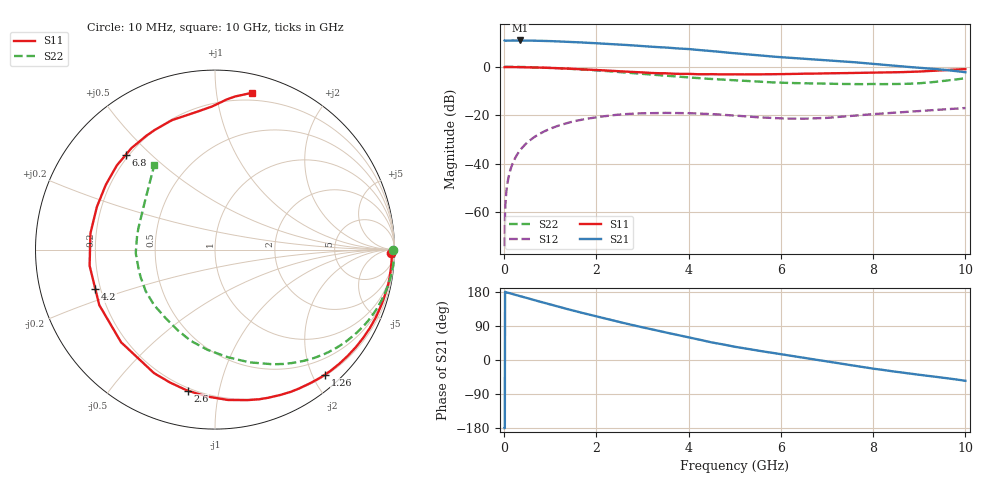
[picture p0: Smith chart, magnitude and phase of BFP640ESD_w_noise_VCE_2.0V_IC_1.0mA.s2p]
! Infineon Technologies  Discrete & RF Semiconductors
! BFP640ESD
! VCE =  2.0 V,  IC =  1.0 mA
! Common Emitter S-Parameters:  Jan 2016
# GHz  S  MA  R  50
!  f  S11  S21  S12  S22
! GHz  MAG  ANG  MAG  ANG  MAG  ANG  MAG  ANG
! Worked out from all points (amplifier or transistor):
!   233 points, 10 MHz to 10 GHz, reference 50 ohm
!   highest |S21| = 10.9 dB at 340 MHz (marker M1)
!   |S21| within 3 dB of that: start of sweep to 3.558 GHz
!   unconditionally stable (mu >= 1): 5.472 GHz to 9.362 GHz
!   at 200 MHz: K = 0.01, MSG = 25.0 dB, |S12| = -39.2 dB
!   at 1.74 GHz: K = 0.17, MSG = 15.8 dB, |S12| = -21.6 dB
!   at 10 GHz: K = 0.67, MSG = 7.4 dB, |S12| = -17.0 dB
!   lowest NFmin = 0.63 dB at 450 MHz
!   S11 on the Smith chart (normalised r, x): 10 MHz: 52, -58; 1.26 GHz: 0.22, -2.19; 2.6 GHz: 0.18, -0.81; 4.2 GHz: 0.18, -0.16; 6.8 GHz: 0.19, +0.42; 10 GHz: 0.14, +1.25
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0.01  0.9829 -1.1  3.483 -179.9  0.0002 -151.8  0.9942 0.0
0.02  0.9864 -1.0  3.441 180.0  0.001 89.7  1 -0.3
0.025  0.9864 -1.2  3.443 179.7  0.0013 89.6  0.9998 -0.5
0.045  0.9865 -1.8  3.45 178.5  0.0025 89.4  0.999 -1.1
0.07  0.986 -2.8  3.46 177.7  0.0039 87.8  0.9986 -1.7
0.17  0.9853 -6.5  3.484 174.6  0.0094 85.5  0.9974 -3.9
0.34  0.9819 -13.0  3.49 168.8  0.0187 81.2  0.9926 -7.9
0.7  0.967 -27.0  3.456 156.6  0.0379 71.7  0.9733 -16.0
1.26  0.9274 -48.7  3.313 138.1  0.0648 57.2  0.9254 -28.4
1.68  0.8896 -65.0  3.174 124.7  0.0811 46.8  0.8798 -37.2
2.2  0.8412 -85.0  2.986 109.2  0.0966 35.2  0.8186 -47.5
2.6  0.8011 -100.9  2.841 97.4  0.1052 26.4  0.7662 -55.5
3.4  0.7348 -131.5  2.522 75.5  0.1113 11.4  0.6669 -70.9
4  0.715 -154.4  2.32 59.5  0.1106 2.4  0.6051 -82.9
4.2  0.7021 -161.6  2.225 54.6  0.1087 -0.1  0.5844 -87.2
4.5  0.7044 -172.7  2.117 46.4  0.1062 -4.1  0.5602 -94.2
5.1  0.6973 170.0  1.859 33.0  0.0971 -8.4  0.5185 -106.8
6  0.7073 149.4  1.579 15.2  0.0858 -7.7  0.4701 -125.9
6.8  0.7251 133.4  1.398 0.1  0.087 -2.2  0.4516 -144.4
7.6  0.7462 116.9  1.24 -14.9  0.0982 0.9  0.4395 -165.1
8.4  0.7667 100.8  1.064 -29.5  0.1121 -1.0  0.4404 170.6
10  0.8971 76.8  0.773 -54.9  0.1412 -9.9  0.5809 125.5
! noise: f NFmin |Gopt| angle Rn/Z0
0.45  0.63  0.83  11  0.4
0.9  0.7  0.75  24  0.39
1.9  0.92  0.61  55  0.31
2.4  1.1  0.54  74  0.29
5.5  1.99  0.47  -156  0.25
